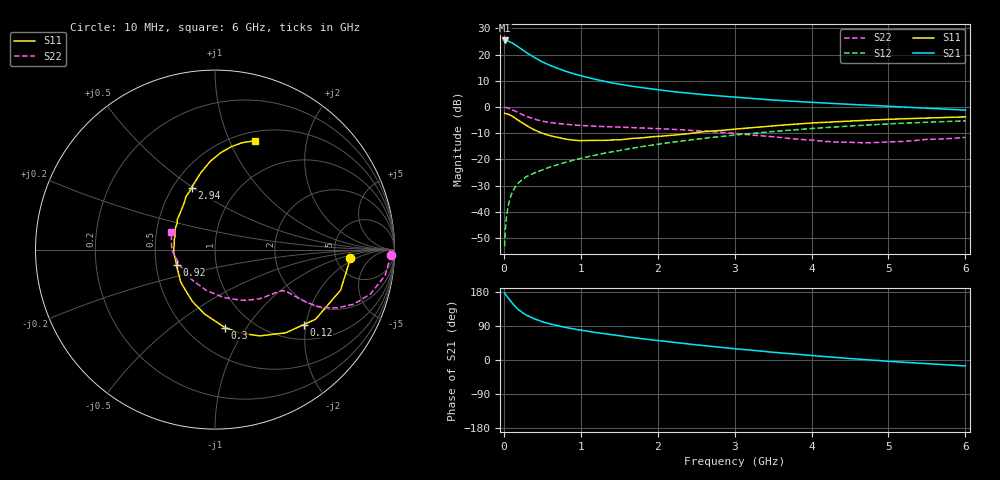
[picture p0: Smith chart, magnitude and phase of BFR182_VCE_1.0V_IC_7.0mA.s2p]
! Infineon Technologies  Discrete & RF Semiconductors
! BFR182
! VCE =  1.0 V,  IC =  7.0 mA
! Common Emitter S-Parameters:  Nov 2015
# GHz  S  MA  R  50
!  f  S11  S21  S12  S22
! GHz  MAG  ANG  MAG  ANG  MAG  ANG  MAG  ANG
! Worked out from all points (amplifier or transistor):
!   210 points, 10 MHz to 6 GHz, reference 50 ohm
!   highest |S21| = 25.4 dB at 10 MHz (marker M1)
!   |S21| within 3 dB of that: start of sweep to 214.9 MHz
!   unconditionally stable (mu >= 1): 827.5 MHz to 2.949 GHz
!   at 185 MHz: K = 0.43, MSG = 26.1 dB, |S12| = -29.2 dB
!   at 1.52 GHz: K = 1.08, MAG = 10.9 dB, |S12| = -16.5 dB
!   at 6 GHz: K = 0.92, MSG = 2.1 dB, |S12| = -5.4 dB
!   S11 on the Smith chart (normalised r, x): 10 MHz: 6.78, -1.53; 120 MHz: 1.35, -1.94; 300 MHz: 0.75, -0.80; 920 MHz: 0.64, -0.12; 2.94 GHz: 0.62, +0.50; 6 GHz: 0.60, +1.25
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0.01  0.7542 -3.7  18.56 177.1  0.0022 86.9  0.9827 -1.7
0.025  0.7432 -8.9  18.36 172.5  0.0057 83.4  0.9713 -4.3
0.05  0.7353 -17.9  18.29 165.3  0.0115 80.4  0.9588 -8.6
0.1  0.6816 -34.7  16.94 152.2  0.0217 75.1  0.9003 -16.0
0.12  0.6472 -40.2  16.18 147.6  0.0251 71.9  0.8714 -18.1
0.15  0.6086 -49.6  15.25 140.0  0.0302 68.4  0.8305 -21.5
0.2  0.5417 -62.6  13.64 131.0  0.0366 65.2  0.7603 -25.2
0.24  0.4972 -70.6  12.34 125.2  0.041 62.5  0.7128 -27.1
0.3  0.4379 -82.7  10.72 117.4  0.0473 61.6  0.6549 -28.9
0.4  0.3633 -99.2  8.742 108.3  0.055 60.3  0.5818 -30.0
0.5  0.3156 -113.4  7.241 100.9  0.0627 60.8  0.5338 -30.2
0.6  0.283 -124.6  6.214 95.3  0.0712 61.0  0.5034 -30.3
0.7  0.2635 -136.3  5.437 90.4  0.0788 62.0  0.4819 -30.3
0.92  0.2313 -157.8  4.237 81.5  0.0976 62.8  0.4508 -30.8
1.02  0.2274 -167.4  3.868 78.1  0.1059 63.2  0.441 -31.3
1.4  0.2344 165.6  2.889 66.8  0.1385 62.8  0.4174 -34.9
2.02  0.2748 137.0  2.107 51.0  0.196 59.7  0.3845 -43.3
2.94  0.3694 110.6  1.557 31.0  0.2846 51.9  0.318 -62.4
3.1  0.3876 107.4  1.493 28.0  0.3001 50.1  0.3029 -66.7
4.1  0.5021 91.6  1.201 10.2  0.3961 38.9  0.2251 -106.7
5.1  0.5873 79.9  1.013 -4.7  0.4826 26.3  0.2169 -160.5
6  0.6455 69.9  0.87 -15.7  0.54 13.8  0.2618 158.6
